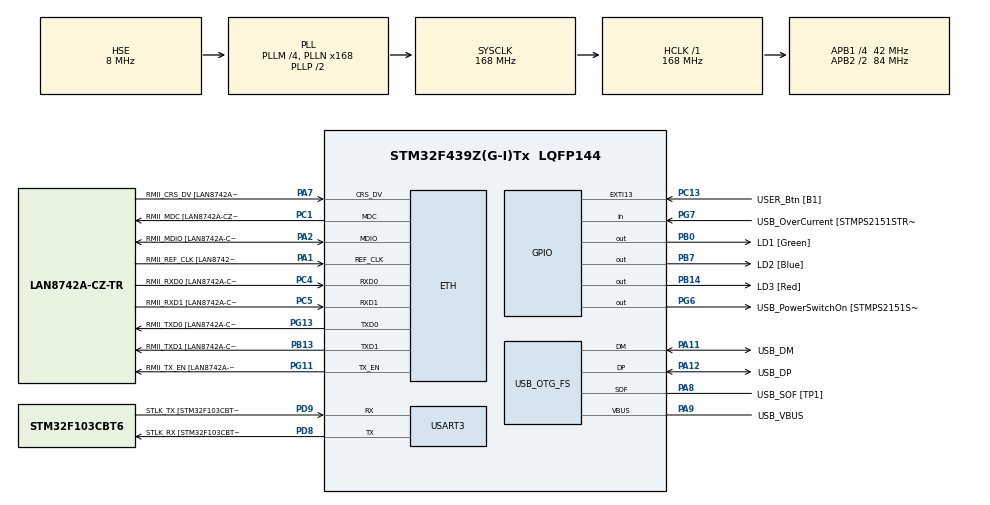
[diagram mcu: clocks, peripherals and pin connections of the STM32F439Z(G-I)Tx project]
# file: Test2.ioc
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ETH.MediaInterface=HAL_ETH_RMII_MODE
ETH.PHY_Name=LAN8742A_PHY_ADDRESS
ETH.PHY_Value=0
ETH.PhyAddress=0
Mcu.Family=STM32F4
Mcu.Name=STM32F439Z(G-I)Tx
Mcu.Package=LQFP144
NVIC.PriorityGroup=NVIC_PRIORITYGROUP_4
PA1.GPIO_Label=RMII_REF_CLK [LAN8742A-CZ-TR_REFCLK0]
PA1.Mode=RMII
PA1.Signal=ETH_REF_CLK
PA10.GPIO_Label=USB_ID
PA10.Signal=USB_OTG_FS_ID
PA11.GPIO_Label=USB_DM
PA11.Mode=Device_Only
PA11.Signal=USB_OTG_FS_DM
PA12.GPIO_Label=USB_DP
PA12.Mode=Device_Only
PA12.Signal=USB_OTG_FS_DP
PA13.GPIO_Label=TMS
PA13.Mode=Serial_Wire
PA13.Signal=SYS_JTMS-SWDIO
PA14.GPIO_Label=TCK
PA14.Mode=Serial_Wire
PA14.Signal=SYS_JTCK-SWCLK
PA2.GPIO_Label=RMII_MDIO [LAN8742A-CZ-TR_MDIO]
PA2.Mode=RMII
PA2.Signal=ETH_MDIO
PA7.GPIO_Label=RMII_CRS_DV [LAN8742A-CZ-TR_CRS_DV]
PA7.Mode=RMII
PA7.Signal=ETH_CRS_DV
PA8.GPIO_Label=USB_SOF [TP1]
PA8.Mode=Activate_SOF_FS
PA8.Signal=USB_OTG_FS_SOF
PA9.GPIO_Label=USB_VBUS
PA9.Mode=Activate_VBUS
PA9.Signal=USB_OTG_FS_VBUS
PB0.GPIO_Label=LD1 [Green]
PB0.Signal=GPIO_Output
PB13.GPIO_Label=RMII_TXD1 [LAN8742A-CZ-TR_TXD1]
PB13.Mode=RMII
PB13.Signal=ETH_TXD1
PB14.GPIO_Label=LD3 [Red]
PB14.Signal=GPIO_Output
PB7.GPIO_Label=LD2 [Blue]
PB7.Signal=GPIO_Output
PC1.GPIO_Label=RMII_MDC [LAN8742A-CZ-TR_MDC]
PC1.Mode=RMII
PC1.Signal=ETH_MDC
PC13.GPIO_Label=USER_Btn [B1]
PC13.Signal=GPXTI13
PC14/OSC32_IN.Mode=LSE-External-Oscillator
PC14/OSC32_IN.Signal=RCC_OSC32_IN
PC15/OSC32_OUT.Mode=LSE-External-Oscillator
PC15/OSC32_OUT.Signal=RCC_OSC32_OUT
PC4.GPIO_Label=RMII_RXD0 [LAN8742A-CZ-TR_RXD0]
PC4.Mode=RMII
PC4.Signal=ETH_RXD0
PC5.GPIO_Label=RMII_RXD1 [LAN8742A-CZ-TR_RXD1]
PC5.Mode=RMII
PC5.Signal=ETH_RXD1
PD8.GPIO_Label=STLK_RX [STM32F103CBT6_PA3]
PD8.Mode=Asynchronous
PD8.Signal=USART3_TX
PD9.GPIO_Label=STLK_TX [STM32F103CBT6_PA2]
PD9.Mode=Asynchronous
PD9.Signal=USART3_RX
PG11.GPIO_Label=RMII_TX_EN [LAN8742A-CZ-TR_TXEN]
PG11.Mode=RMII
PG11.Signal=ETH_TX_EN
PG13.GPIO_Label=RMII_TXD0 [LAN8742A-CZ-TR_TXD0]
PG13.Mode=RMII
PG13.Signal=ETH_TXD0
PG6.GPIO_Label=USB_PowerSwitchOn [STMPS2151STR_EN]
PG6.Signal=GPIO_Output
PG7.GPIO_Label=USB_OverCurrent [STMPS2151STR_FAULT]
PG7.Signal=GPIO_Input
PH0/OSC_IN.GPIO_Label=MCO [STM32F103CBT6_PA8]
PH0/OSC_IN.Mode=HSE-External-Clock-Source
PH0/OSC_IN.Signal=RCC_OSC_IN
PH1/OSC_OUT.Mode=HSE-External-Clock-Source
PH1/OSC_OUT.Signal=RCC_OSC_OUT
ProjectManager.HeapSize=0x200
ProjectManager.StackSize=0x400
ProjectManager.TargetToolchain=STM32CubeIDE
RCC.48MHZClocksFreq_Value=48000000
RCC.AHBFreq_Value=168000000
RCC.APB1CLKDivider=RCC_HCLK_DIV4
RCC.APB1Freq_Value=42000000
RCC.APB1TimFreq_Value=84000000
RCC.APB2CLKDivider=RCC_HCLK_DIV2
RCC.APB2Freq_Value=84000000
RCC.APB2TimFreq_Value=168000000
RCC.CortexFreq_Value=168000000
RCC.HCLKFreq_Value=168000000
RCC.HSE_VALUE=8000000
RCC.HSI_VALUE=16000000
RCC.PLLM=4
RCC.PLLMUL=RCC_PLL_MUL9
RCC.PLLN=168
RCC.PLLQ=7
RCC.PRESCALERUSB=RCC_USBCLKSOURCE_PLL_DIV1_5
RCC.SYSCLKFreq_VALUE=168000000
RCC.SYSCLKSource=RCC_SYSCLKSOURCE_PLLCLK
RCC.SYSCLKSourceVirtual=RCC_SYSCLKSOURCE_PLLCLK
RCC.USBFreq_Value=48000000
RCC.VCOOutputFreq_Value=336000000
USART3.VirtualMode=VM_ASYNC
USB_OTG_FS.VirtualMode=Device_Only
VP_RTC_VS_RTC_Activate.Mode=RTC_Enabled
VP_RTC_VS_RTC_Calendar.Mode=RTC_Calendar
board=NUCLEO-F439ZI

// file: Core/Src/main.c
/* USER CODE BEGIN Header */
/**
  ******************************************************************************
  * @file           : main.c
  * @brief          : Main program body
  ******************************************************************************
  * @attention
  *
  * Copyright (c) 2023 STMicroelectronics.
  * All rights reserved.
  *
  * This software is licensed under terms that can be found in the LICENSE file
  * in the root directory of this software component.
  * If no LICENSE file comes with this software, it is provided AS-IS.
  *
  ******************************************************************************
  */
/* USER CODE END Header */
#include "main.h"
#include "string.h"

/* USER CODE BEGIN Includes */
#include <stdio.h>
#include <stdlib.h>
/* USER CODE END Includes */

ETH_TxPacketConfig TxConfig;
ETH_DMADescTypeDef  DMARxDscrTab[ETH_RX_DESC_CNT]; /* Ethernet Rx DMA Descriptors */
ETH_DMADescTypeDef  DMATxDscrTab[ETH_TX_DESC_CNT]; /* Ethernet Tx DMA Descriptors */

ETH_HandleTypeDef heth;

RTC_HandleTypeDef hrtc;

UART_HandleTypeDef huart3;

PCD_HandleTypeDef hpcd_USB_OTG_FS;

/* USER CODE BEGIN PV */
RTC_TimeTypeDef sTime;
RTC_DateTypeDef sDate;

typedef enum { false, true } bool;
/* USER CODE END PV */

void SystemClock_Config(void);
static void MX_GPIO_Init(void);
static void MX_ETH_Init(void);
static void MX_USART3_UART_Init(void);
static void MX_USB_OTG_FS_PCD_Init(void);
static void MX_RTC_Init(void);
/* USER CODE BEGIN PFP */
static void setRTCTime(char* inputTime);
/* USER CODE END PFP */

int main(void)
{
  /* USER CODE BEGIN 1 */
	char time[14];
	//char date[30];
	bool timeset = false;
	char currentTime[9];

  /* USER CODE END 1 */

  /* MCU Configuration--------------------------------------------------------*/

  /* Reset of all peripherals, Initializes the Flash interface and the Systick. */
  HAL_Init();

  /* Configure the system clock */
  SystemClock_Config();

  /* Initialize all configured peripherals */
  MX_GPIO_Init();
  MX_ETH_Init();
  MX_USART3_UART_Init();
  MX_USB_OTG_FS_PCD_Init();
  MX_RTC_Init();
  /* USER CODE BEGIN 2 */

  while(!timeset){
	  if (HAL_UART_Receive(&huart3, (uint8_t *) currentTime, sizeof(currentTime), 1000) == HAL_OK){
		  if (currentTime[8]=='*'){
			  //Time Correctly recorded
			  currentTime[8]='\0';
			  setRTCTime(currentTime);
			  HAL_UART_Transmit(&huart3, (uint8_t *)"set\n", sizeof((uint8_t *)"set"), 100);
			  timeset = true;
			  break;
		  }

	  }
  }

  /* USER CODE END 2 */

  /* Infinite loop */
  /* USER CODE BEGIN WHILE */
  while (1)
  {
	  //NEED TO GET BOTH DATE AND TIME,
	  HAL_RTC_GetTime(&hrtc, &sTime, RTC_FORMAT_BIN);
	  HAL_RTC_GetDate(&hrtc, &sDate, RTC_FORMAT_BIN);

	  sprintf(time, "Time:%02d:%02d:%02d\n", sTime.Hours, sTime.Minutes, sTime.Seconds);

	  HAL_UART_Transmit(&huart3, (uint8_t *) time, sizeof(time), 100);
    /* USER CODE END WHILE */

    /* USER CODE BEGIN 3 */
	 HAL_GPIO_TogglePin(GPIOB, GPIO_PIN_7);
	 HAL_Delay(2000);

  }
  /* USER CODE END 3 */
}

void SystemClock_Config(void)
{
  RCC_OscInitTypeDef RCC_OscInitStruct = {0};
  RCC_ClkInitTypeDef RCC_ClkInitStruct = {0};

  /** Configure the main internal regulator output voltage
  */
  __HAL_RCC_PWR_CLK_ENABLE();
  __HAL_PWR_VOLTAGESCALING_CONFIG(PWR_REGULATOR_VOLTAGE_SCALE1);

  /** Initializes the RCC Oscillators according to the specified parameters
  * in the RCC_OscInitTypeDef structure.
  */
  RCC_OscInitStruct.OscillatorType = RCC_OSCILLATORTYPE_HSE|RCC_OSCILLATORTYPE_LSE;
  RCC_OscInitStruct.HSEState = RCC_HSE_BYPASS;
  RCC_OscInitStruct.LSEState = RCC_LSE_ON;
  RCC_OscInitStruct.PLL.PLLState = RCC_PLL_ON;
  RCC_OscInitStruct.PLL.PLLSource = RCC_PLLSOURCE_HSE;
  RCC_OscInitStruct.PLL.PLLM = 4;
  RCC_OscInitStruct.PLL.PLLN = 168;
  RCC_OscInitStruct.PLL.PLLP = RCC_PLLP_DIV2;
  RCC_OscInitStruct.PLL.PLLQ = 7;
  if (HAL_RCC_OscConfig(&RCC_OscInitStruct) != HAL_OK)
  {
    Error_Handler();
  }

  /** Initializes the CPU, AHB and APB buses clocks
  */
  RCC_ClkInitStruct.ClockType = RCC_CLOCKTYPE_HCLK|RCC_CLOCKTYPE_SYSCLK
                              |RCC_CLOCKTYPE_PCLK1|RCC_CLOCKTYPE_PCLK2;
  RCC_ClkInitStruct.SYSCLKSource = RCC_SYSCLKSOURCE_PLLCLK;
  RCC_ClkInitStruct.AHBCLKDivider = RCC_SYSCLK_DIV1;
  RCC_ClkInitStruct.APB1CLKDivider = RCC_HCLK_DIV4;
  RCC_ClkInitStruct.APB2CLKDivider = RCC_HCLK_DIV2;

  if (HAL_RCC_ClockConfig(&RCC_ClkInitStruct, FLASH_LATENCY_5) != HAL_OK)
  {
    Error_Handler();
  }
}

static void MX_ETH_Init(void)
{

   static uint8_t MACAddr[6];

  heth.Instance = ETH;
  MACAddr[0] = 0x00;
  MACAddr[1] = 0x80;
  MACAddr[2] = 0xE1;
  MACAddr[3] = 0x00;
  MACAddr[4] = 0x00;
  MACAddr[5] = 0x00;
  heth.Init.MACAddr = &MACAddr[0];
  heth.Init.MediaInterface = HAL_ETH_RMII_MODE;
  heth.Init.TxDesc = DMATxDscrTab;
  heth.Init.RxDesc = DMARxDscrTab;
  heth.Init.RxBuffLen = 1524;

  if (HAL_ETH_Init(&heth) != HAL_OK)
  {
    Error_Handler();
  }

  memset(&TxConfig, 0 , sizeof(ETH_TxPacketConfig));
  TxConfig.Attributes = ETH_TX_PACKETS_FEATURES_CSUM | ETH_TX_PACKETS_FEATURES_CRCPAD;
  TxConfig.ChecksumCtrl = ETH_CHECKSUM_IPHDR_PAYLOAD_INSERT_PHDR_CALC;
  TxConfig.CRCPadCtrl = ETH_CRC_PAD_INSERT;

}

static void MX_RTC_Init(void)
{

  RTC_TimeTypeDef sTime = {0};
  RTC_DateTypeDef sDate = {0};

  /** Initialize RTC Only
  */
  hrtc.Instance = RTC;
  hrtc.Init.HourFormat = RTC_HOURFORMAT_24;
  hrtc.Init.AsynchPrediv = 127;
  hrtc.Init.SynchPrediv = 255;
  hrtc.Init.OutPut = RTC_OUTPUT_DISABLE;
  hrtc.Init.OutPutPolarity = RTC_OUTPUT_POLARITY_HIGH;
  hrtc.Init.OutPutType = RTC_OUTPUT_TYPE_OPENDRAIN;
  if (HAL_RTC_Init(&hrtc) != HAL_OK)
  {
    Error_Handler();
  }

  /** Initialize RTC and set the Time and Date
  */
  sTime.Hours = 0x0;
  sTime.Minutes = 0x0;
  sTime.Seconds = 0x0;
  sTime.DayLightSaving = RTC_DAYLIGHTSAVING_NONE;
  sTime.StoreOperation = RTC_STOREOPERATION_RESET;
  if (HAL_RTC_SetTime(&hrtc, &sTime, RTC_FORMAT_BCD) != HAL_OK)
  {
    Error_Handler();
  }
  sDate.WeekDay = RTC_WEEKDAY_MONDAY;
  sDate.Month = RTC_MONTH_JANUARY;
  sDate.Date = 0x1;
  sDate.Year = 0x0;

  if (HAL_RTC_SetDate(&hrtc, &sDate, RTC_FORMAT_BCD) != HAL_OK)
  {
    Error_Handler();
  }

}

static void MX_USART3_UART_Init(void)
{

  huart3.Instance = USART3;
  huart3.Init.BaudRate = 9600;
  huart3.Init.WordLength = UART_WORDLENGTH_8B;
  huart3.Init.StopBits = UART_STOPBITS_1;
  huart3.Init.Parity = UART_PARITY_NONE;
  huart3.Init.Mode = UART_MODE_TX_RX;
  huart3.Init.HwFlowCtl = UART_HWCONTROL_NONE;
  huart3.Init.OverSampling = UART_OVERSAMPLING_16;
  if (HAL_UART_Init(&huart3) != HAL_OK)
  {
    Error_Handler();
  }

}

static void MX_USB_OTG_FS_PCD_Init(void)
{

  hpcd_USB_OTG_FS.Instance = USB_OTG_FS;
  hpcd_USB_OTG_FS.Init.dev_endpoints = 4;
  hpcd_USB_OTG_FS.Init.speed = PCD_SPEED_FULL;
  hpcd_USB_OTG_FS.Init.dma_enable = DISABLE;
  hpcd_USB_OTG_FS.Init.phy_itface = PCD_PHY_EMBEDDED;
  hpcd_USB_OTG_FS.Init.Sof_enable = ENABLE;
  hpcd_USB_OTG_FS.Init.low_power_enable = DISABLE;
  hpcd_USB_OTG_FS.Init.lpm_enable = DISABLE;
  hpcd_USB_OTG_FS.Init.vbus_sensing_enable = ENABLE;
  hpcd_USB_OTG_FS.Init.use_dedicated_ep1 = DISABLE;
  if (HAL_PCD_Init(&hpcd_USB_OTG_FS) != HAL_OK)
  {
    Error_Handler();
  }

}

static void MX_GPIO_Init(void)
{
  GPIO_InitTypeDef GPIO_InitStruct = {0};

  /* GPIO Ports Clock Enable */
  __HAL_RCC_GPIOC_CLK_ENABLE();
  __HAL_RCC_GPIOH_CLK_ENABLE();
  __HAL_RCC_GPIOA_CLK_ENABLE();
  __HAL_RCC_GPIOB_CLK_ENABLE();
  __HAL_RCC_GPIOD_CLK_ENABLE();
  __HAL_RCC_GPIOG_CLK_ENABLE();

  /*Configure GPIO pin Output Level */
  HAL_GPIO_WritePin(GPIOB, LD1_Pin|LD3_Pin|LD2_Pin, GPIO_PIN_RESET);

  /*Configure GPIO pin Output Level */
  HAL_GPIO_WritePin(USB_PowerSwitchOn_GPIO_Port, USB_PowerSwitchOn_Pin, GPIO_PIN_RESET);

  /*Configure GPIO pin : USER_Btn_Pin */
  GPIO_InitStruct.Pin = USER_Btn_Pin;
  GPIO_InitStruct.Mode = GPIO_MODE_IT_RISING;
  GPIO_InitStruct.Pull = GPIO_NOPULL;
  HAL_GPIO_Init(USER_Btn_GPIO_Port, &GPIO_InitStruct);

  /*Configure GPIO pins : LD1_Pin LD3_Pin LD2_Pin */
  GPIO_InitStruct.Pin = LD1_Pin|LD3_Pin|LD2_Pin;
  GPIO_InitStruct.Mode = GPIO_MODE_OUTPUT_PP;
  GPIO_InitStruct.Pull = GPIO_NOPULL;
  GPIO_InitStruct.Speed = GPIO_SPEED_FREQ_LOW;
  HAL_GPIO_Init(GPIOB, &GPIO_InitStruct);

  /*Configure GPIO pin : USB_PowerSwitchOn_Pin */
  GPIO_InitStruct.Pin = USB_PowerSwitchOn_Pin;
  GPIO_InitStruct.Mode = GPIO_MODE_OUTPUT_PP;
  GPIO_InitStruct.Pull = GPIO_NOPULL;
  GPIO_InitStruct.Speed = GPIO_SPEED_FREQ_LOW;
  HAL_GPIO_Init(USB_PowerSwitchOn_GPIO_Port, &GPIO_InitStruct);

  /*Configure GPIO pin : USB_OverCurrent_Pin */
  GPIO_InitStruct.Pin = USB_OverCurrent_Pin;
  GPIO_InitStruct.Mode = GPIO_MODE_INPUT;
  GPIO_InitStruct.Pull = GPIO_NOPULL;
  HAL_GPIO_Init(USB_OverCurrent_GPIO_Port, &GPIO_InitStruct);

}

/* USER CODE BEGIN 4 */

/**
 * @brief Set Initial RTC Values
 * @retval None
 */

static void setRTCTime(char* inputTime)
{
	char *delim = ":";
	char hours[] ="00";
	char minutes[]="00";
	char seconds[]="00";

	char *token = strtok(inputTime, delim);
	strcpy(hours, token);
	token = strtok(NULL, delim);
	strcpy(minutes, token);
	token = strtok(NULL, delim);
	strcpy(seconds, token);
	sTime.Hours = (uint8_t)atoi(hours);
	sTime.Minutes = (uint8_t)(uint8_t)atoi(minutes);
	sTime.Seconds = (uint8_t)(uint8_t)atoi(seconds);
	HAL_RTC_SetTime(&hrtc, &sTime, RTC_FORMAT_BIN);

}

/* USER CODE END 4 */

void Error_Handler(void)
{
  __disable_irq();
  while (1)
  {
  }
}
